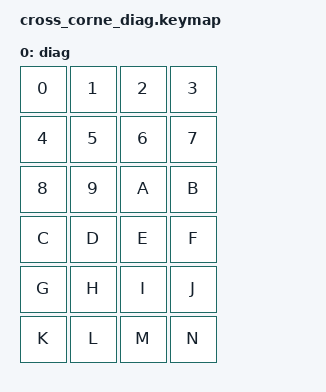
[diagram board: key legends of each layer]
#include <behaviors.dtsi>
#include <dt-bindings/zmk/keys.h>

/*
 * 24 positions (6 rows × 4 cols)
 * pos = row_idx * 4 + col_idx
 * pos 0-9  → '0'-'9'
 * pos 10-23 → 'a'-'n'
 *
 * Rows: [gpio0 29, gpio1 4, gpio0 22, gpio0 24, gpio1 0, gpio0 11]
 * Cols: [gpio1 11, gpio1 13, gpio1 15, gpio0 2]  (confirmed)
 *
 * Physical layout:
 *   col0=gpio1 11 → thumb row
 *   col1=gpio1 13 → bottom finger row
 *   col2=gpio1 15 → middle finger row
 *   col3=gpio0 2  → top finger row
 */

/ {
    chosen {
        zmk,matrix_transform = &default_transform;
    };

    keymap {
        compatible = "zmk,keymap";
        diag {
            bindings = <
/* r0 */ &kp N0 &kp N1 &kp N2 &kp N3
/* r1 */ &kp N4 &kp N5 &kp N6 &kp N7
/* r2 */ &kp N8 &kp N9 &kp A  &kp B
/* r3 */ &kp C  &kp D  &kp E  &kp F
/* r4 */ &kp G  &kp H  &kp I  &kp J
/* r5 */ &kp K  &kp L  &kp M  &kp N
            >;
        };
    };
};
